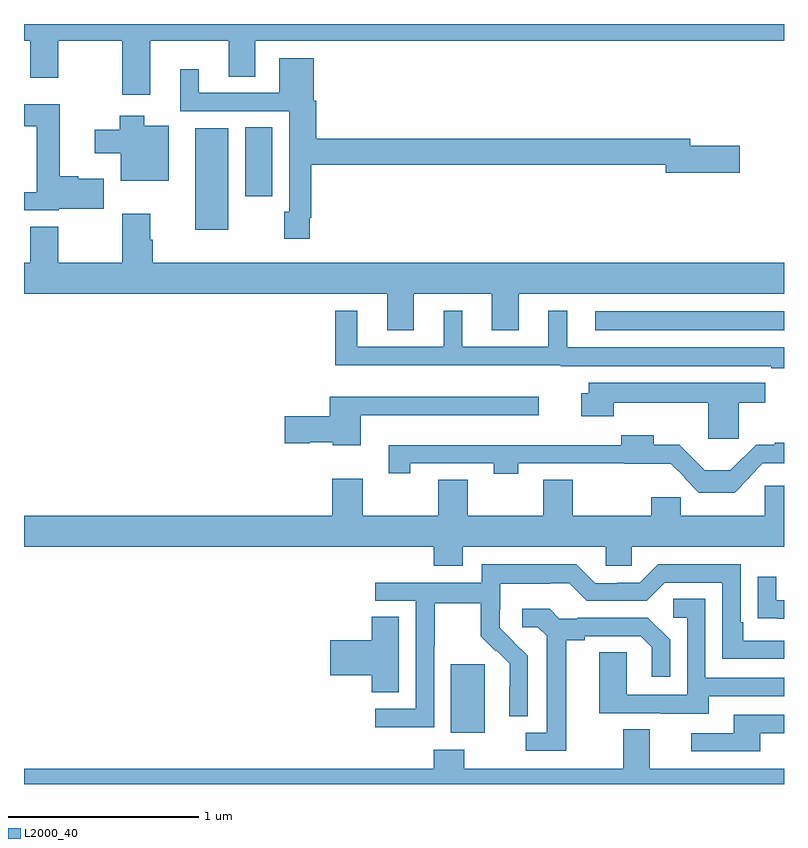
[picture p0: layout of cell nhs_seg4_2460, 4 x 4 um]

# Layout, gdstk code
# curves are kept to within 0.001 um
import gdstk
lib = gdstk.Library(unit=1e-6, precision=1e-09)
def R(c, l, rs):  # rectangles x0, y0, x1, y1
    for r in rs: c.add(gdstk.rectangle(r[:2], r[2:], *l))
def P(c, l, *ps):  # polygons
    for p in ps: c.add(gdstk.Polygon(p, *l))
L2000_40 = (2000, 40)

nhs_seg4_2460 = lib.new_cell('nhs_seg4_2460')
R(nhs_seg4_2460, L2000_40, [(241.247,801.17,241.426,801.531), (242.007,803.288,243,803.389), (239.9,803.816,240.076,804.352), (240.164,803.994,240.307,804.356)])
P(nhs_seg4_2460, L2000_40, [(239.665,804.812),(240.077,804.812),(240.077,804.622),(240.217,804.622),(240.217,804.812),(243,804.812),(243,804.9),(239,804.9),(239,804.812),(239.033,804.812),(239.033,804.618),(239.181,804.618),(239.181,804.812),(239.518,804.812),(239.518,804.528),(239.665,804.528)],
  [(240.505,803.881),(240.512,803.881),(240.512,804.16),(242.378,804.16),(242.378,804.118),(242.767,804.118),(242.767,804.26),(242.506,804.26),(242.506,804.296),(240.539,804.296),(240.539,804.495),(240.526,804.495),(240.526,804.721),(240.344,804.721),(240.344,804.537),(239.92,804.537),(239.92,804.661),(239.822,804.661),(239.822,804.441),(240.396,804.441),(240.396,803.913),(240.37,803.913),(240.37,803.769),(240.505,803.769)],
  [(239.184,803.927),(239.419,803.927),(239.419,804.085),(239.285,804.085),(239.285,804.098),(239.188,804.098),(239.188,804.478),(239,804.478),(239,804.362),(239.066,804.362),(239.066,804.015),(239,804.015),(239,803.919),(239.184,803.919)],
  [(239.761,804.364),(239.632,804.364),(239.632,804.418),(239.503,804.418),(239.503,804.343),(239.373,804.343),(239.373,804.221),(239.51,804.221),(239.51,804.074),(239.761,804.074)],
  [(241.051,803.48),(241.463,803.48),(241.463,803.287),(241.603,803.287),(241.603,803.48),(243,803.48),(243,803.644),(239.678,803.644),(239.678,803.765),(239.665,803.765),(239.665,803.902),(239.518,803.902),(239.518,803.644),(239.181,803.644),(239.181,803.834),(239.034,803.834),(239.034,803.644),(239,803.644),(239,803.48),(240.911,803.48),(240.911,803.287),(241.051,803.287)],
  [(243,803.2),(241.858,803.2),(241.858,803.392),(241.76,803.392),(241.76,803.202),(241.306,803.202),(241.306,803.392),(241.208,803.392),(241.208,803.202),(240.754,803.202),(240.754,803.392),(240.637,803.392),(240.637,803.105),(241.824,803.105),(241.824,803.099),(242.933,803.099),(242.933,803.089),(243,803.089)],
  [(242.762,802.907),(242.902,802.907),(242.902,803.011),(241.973,803.011),(241.973,802.957),(241.934,802.957),(241.934,802.835),(242.105,802.835),(242.105,802.907),(242.6,802.907),(242.6,802.716),(242.762,802.716)],
  [(240.773,802.841),(241.708,802.841),(241.708,802.939),(240.608,802.939),(240.608,802.835),(240.372,802.835),(240.372,802.693),(240.504,802.693),(240.504,802.7),(240.624,802.7),(240.624,802.682),(240.773,802.682)],
  [(242.818,802.511),(242.816,802.514),(242.889,802.587),(243,802.587),(243,802.696),(242.95,802.696),(242.95,802.686),(242.853,802.686),(242.718,802.551),(242.583,802.551),(242.448,802.686),(242.314,802.686),(242.314,802.735),(242.144,802.735),(242.144,802.684),(240.921,802.684),(240.921,802.536),(241.034,802.536),(241.034,802.587),(241.473,802.587),(241.473,802.532),(241.601,802.532),(241.601,802.587),(242.404,802.586),(242.477,802.514),(242.474,802.511),(242.551,802.433),(242.741,802.433)],
  [(241.309,802.148),(242.061,802.148),(242.061,802.05),(242.199,802.05),(242.199,802.148),(243,802.148),(243,802.471),(242.898,802.471),(242.898,802.312),(242.456,802.312),(242.456,802.41),(242.302,802.41),(242.302,802.312),(241.887,802.312),(241.887,802.502),(241.732,802.502),(241.732,802.312),(241.335,802.312),(241.335,802.502),(241.18,802.502),(241.18,802.312),(240.783,802.312),(240.783,802.507),(240.623,802.507),(240.623,802.312),(239,802.312),(239,802.148),(241.157,802.148),(241.157,802.049),(241.309,802.049)],
  [(241.158,801.628),(241.161,801.628),(241.161,801.852),(241.405,801.852),(241.405,801.677),(241.482,801.6),(241.485,801.603),(241.556,801.533),(241.556,801.41),(241.554,801.41),(241.554,801.256),(241.65,801.256),(241.65,801.574),(241.504,801.722),(241.504,801.819),(241.506,801.819),(241.506,801.953),(241.769,801.953),(241.769,801.957),(241.869,801.957),(241.962,801.864),(242.277,801.864),(242.373,801.96),(242.676,801.96),(242.676,801.558),(243,801.558),(243,801.654),(242.785,801.654),(242.785,801.751),(242.772,801.751),(242.772,802.056),(242.337,802.056),(242.241,801.96),(242.123,801.96),(242.123,801.957),(242.007,801.957),(241.907,802.057),(241.41,802.057),(241.41,801.96),(240.849,801.96),(240.849,801.864),(241.062,801.864),(241.062,801.297),(240.849,801.297),(240.849,801.199),(241.158,801.199)],
  [(243,801.867),(242.959,801.867),(242.959,801.991),(242.863,801.991),(242.863,801.772),(242.965,801.772),(242.965,801.771),(243,801.771)],
  [(242.605,801.363),(243,801.363),(243,801.459),(242.586,801.459),(242.586,801.875),(242.418,801.875),(242.418,801.774),(242.49,801.774),(242.49,801.369),(242.172,801.369),(242.172,801.593),(242.027,801.593),(242.027,801.273),(242.351,801.273),(242.351,801.269),(242.605,801.269)],
  [(241.855,801.656),(241.951,801.656),(241.951,801.678),(242.246,801.678),(242.303,801.621),(242.303,801.465),(242.4,801.465),(242.4,801.658),(242.284,801.774),(241.912,801.774),(241.912,801.771),(241.818,801.771),(241.766,801.823),(241.623,801.823),(241.623,801.726),(241.704,801.726),(241.751,801.679),(241.751,801.171),(241.641,801.171),(241.641,801.075),(241.855,801.075)],
  [(240.973,801.779),(240.83,801.779),(240.83,801.656),(240.612,801.656),(240.612,801.473),(240.83,801.473),(240.83,801.382),(240.973,801.382)],
  [(242.875,801.168),(243,801.168),(243,801.264),(242.735,801.264),(242.735,801.168),(242.511,801.168),(242.511,801.072),(242.875,801.072)],
  [(243,800.98),(242.293,800.98),(242.293,801.188),(242.153,801.188),(242.153,800.98),(241.317,800.98),(241.317,801.079),(241.157,801.079),(241.157,800.98),(239,800.98),(239,800.9),(243,800.9)])

lib.write_gds('nhs_seg4_2460.gds')
